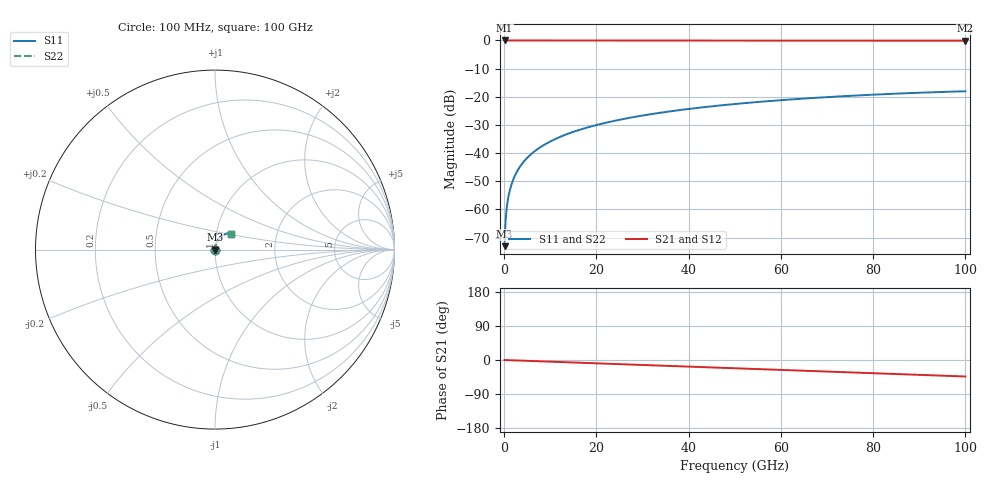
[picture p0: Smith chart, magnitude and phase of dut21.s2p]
! Touchstone file exported from HFSS 2026.1.0
!  File:  C:/ffzhzh/LocalFiles/Ansys_Project_Files/temp_train_TSV_21_1783504421_31944.aedt
!  Generated:  05:55:00 PM Jul  8, 2026
!  Design:  TSV
!  Project:  temp_train_TSV_21_1783504421_31944
! Variables:
!  h_bsmrdl = 2um
!  h_ox = 20um
!  h_rdl = 5um
!  h_sub = 81.93um
!  h_tmrdl = 5um
!  h_tsv = 81.93um
!  h_via = 3um
!  l_bsmrdl = 300um
!  l_sub = 423.22um
!  l_tmrdl = 200um
!  m_sub = 200um
!  pitch = 59.26um
!  r_tsv = 11.61um
!  s_tmrdl = 10um
!  w_bsmrdl = 18um
!  w_sub = 500um
!  w_tmrdl = 12um
!  x_tsv_center1 = 206um
!  x_tsv_center2 = 524um
!  x_tsv_center3 = 736um
!  x_tsv_center4 = 1054um
!  x_tsv_center5 = 1266um
!  x_tsv_center6 = 1584um
# GHz S MA R 50.000000
! Terminal data exported
! Port[1] = TSV1_1_T1
! Port[2] = TSV1_1_T2
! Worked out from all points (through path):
!   1000 points, 100 MHz to 100 GHz, reference 50 ohm
!   highest |S21| = 0.00 dB at 100 MHz (marker M1); lowest = -0.1 dB at 100 GHz (marker M2)
!   group delay of S21, straight-line fit = 1.21 ps
!   lowest |S11| = -73.0 dB at 100 MHz (marker M3), VSWR 1.00, Z = 50 + j0.0199 ohm
!   |S11| at or under -10 dB: start of sweep to end of sweep
!   |S22| runs from -73.0 to -18.0 dB; largest |S21 - S12| = 7.1e-15
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0.1  0.0002226 63.1  0.9999 -0.0  0.9999 -0.0  0.0002226 63.1
! Gamma 0 0 0 0
! Port Impedance 50 0 50 0
0.3  0.0005972 77.2  0.9999 -0.1  0.9999 -0.1  0.0005972 77.2
0.7  0.001302 80.4  0.9998 -0.3  0.9998 -0.3  0.001302 80.4
0.8  0.00147 80.8  0.9998 -0.4  0.9998 -0.4  0.00147 80.8
1  0.001802 81.4  0.9997 -0.4  0.9997 -0.4  0.001802 81.4
1.3  0.002296 82.2  0.9997 -0.6  0.9997 -0.6  0.002296 82.2
1.8  0.003113 83.0  0.9997 -0.8  0.9997 -0.8  0.003113 83.0
2.3  0.003926 83.4  0.9996 -1.0  0.9996 -1.0  0.003926 83.4
3  0.005054 83.7  0.9996 -1.3  0.9996 -1.3  0.005054 83.7
3.8  0.006334 83.9  0.9995 -1.7  0.9995 -1.7  0.006334 83.9
4.8  0.007923 83.9  0.9994 -2.1  0.9994 -2.1  0.007923 83.9
6  0.00982 83.8  0.9993 -2.6  0.9993 -2.6  0.00982 83.8
8.8  0.01422 83.1  0.9992 -3.9  0.9992 -3.9  0.01422 83.1
12.4  0.01983 81.9  0.9989 -5.4  0.9989 -5.4  0.01983 81.9
16.8  0.02661 80.4  0.9986 -7.4  0.9986 -7.4  0.02661 80.4
24.2  0.03783 77.5  0.998 -10.6  0.998 -10.6  0.03783 77.5
33.4  0.0514 73.8  0.9972 -14.6  0.9972 -14.6  0.0514 73.8
41.2  0.06247 70.5  0.9964 -18.0  0.9964 -18.0  0.06247 70.5
50.1  0.07451 66.8  0.9954 -21.9  0.9954 -21.9  0.07451 66.8
66.7  0.09495 59.8  0.9934 -29.1  0.9934 -29.1  0.09495 59.8
83.4  0.1122 52.7  0.9913 -36.3  0.9913 -36.3  0.1122 52.7
100  0.1253 45.6  0.9893 -43.5  0.9893 -43.5  0.1253 45.6
